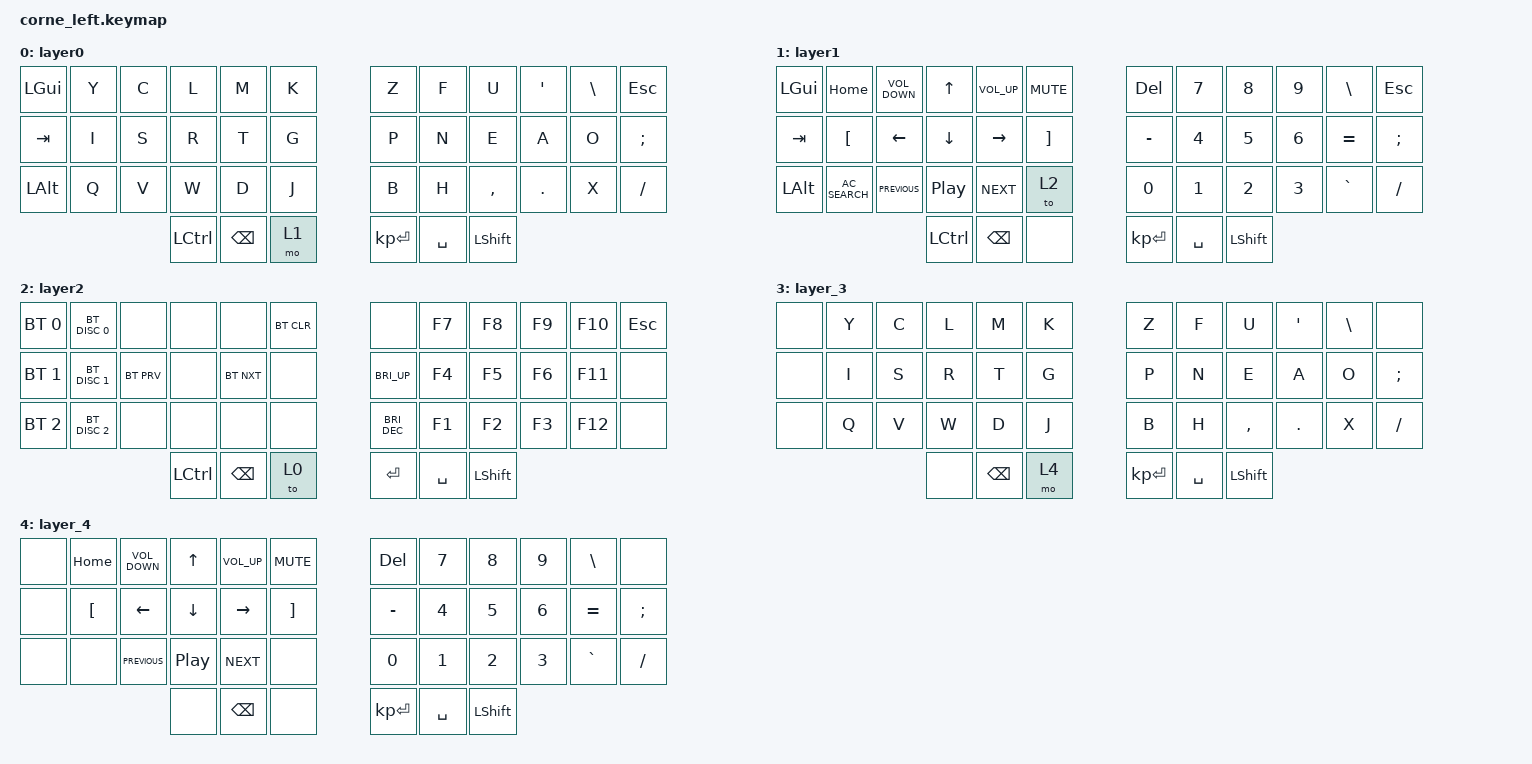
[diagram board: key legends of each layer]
/*
  * Copyright (c) 2020 The ZMK Contributors
  *
  * SPDX-License-Identifier: MIT
  */

#include <behaviors.dtsi>
#include <dt-bindings/zmk/bt.h>
#include <dt-bindings/zmk/keys.h>


&kscan {
    row-gpios
            = <&pro_micro 4 (GPIO_PULL_DOWN | GPIO_ACTIVE_HIGH)>
            , <&pro_micro 5  (GPIO_PULL_DOWN | GPIO_ACTIVE_HIGH)>
            , <&gpio0     1  (GPIO_PULL_DOWN | GPIO_ACTIVE_HIGH)>
            , <&pro_micro 8  (GPIO_PULL_DOWN | GPIO_ACTIVE_HIGH)>

            ;
};


/ {
    combos {
        compatible = "zmk,combos";

        purewrite {
            bindings = <&tog 3>;
            key-positions = <37 36 38>;
            layers = <3 0>;
        };

        normal {
            timeout-ms = <50>;
            key-positions = <0 12 24>;
            bindings = <&to 0>;
        };
    };

    keymap {
        compatible = "zmk,keymap";

        layer0 {
            bindings = <
&kp LEFT_GUI  &kp Y  &kp C  &kp L             &kp M          &kp K    &kp Z         &kp F      &kp U           &kp SINGLE_QUOTE  &kp BACKSLASH  &kp ESCAPE
&kp TAB       &kp I  &kp S  &kp R             &kp T          &kp G    &kp P         &kp N      &kp E           &kp A             &kp O          &kp SEMICOLON
&kp LEFT_ALT  &kp Q  &kp V  &kp W             &kp D          &kp J    &kp B         &kp H      &kp COMMA       &kp DOT           &kp X          &kp SLASH
                            &kp LEFT_CONTROL  &kp BACKSPACE  &mo 1    &kp KP_ENTER  &kp SPACE  &kp LEFT_SHIFT
            >;
        };

        layer1 {
            bindings = <
&kp LEFT_GUI  &kp HOME          &kp C_VOLUME_DOWN  &kp UP            &kp C_VOLUME_UP  &kp C_MUTE           &kp DELETE    &kp N7     &kp N8          &kp N9  &kp BACKSLASH  &kp ESCAPE
&kp TAB       &kp LEFT_BRACKET  &kp LEFT           &kp DOWN          &kp RIGHT        &kp RIGHT_BRACKET    &kp MINUS     &kp N4     &kp N5          &kp N6  &kp EQUAL      &kp SEMICOLON
&kp LEFT_ALT  &kp C_AC_SEARCH   &kp C_PREVIOUS     &kp C_PLAY_PAUSE  &kp C_NEXT       &to 2               &kp NUMBER_0  &kp N1     &kp N2          &kp N3  &kp GRAVE      &kp SLASH
                                                   &kp LEFT_CONTROL  &kp BACKSPACE    &none                &kp KP_ENTER  &kp SPACE  &kp LEFT_SHIFT
            >;
        };

        layer2 {
            bindings = <
&bt BT_SEL 0  &bt BT_DISC 0  &none         &none             &none          &bt BT_CLR    &none          &kp F7     &kp F8          &kp F9  &kp F10  &kp ESCAPE
&bt BT_SEL 1  &bt BT_DISC 1  &bt BT_PRV    &none             &bt BT_NXT     &none         &kp C_BRI_UP   &kp F4     &kp F5          &kp F6  &kp F11  &none
&bt BT_SEL 2  &bt BT_DISC 2  &none  &none     &none          &none        &kp C_BRI_DEC  &kp F1     &kp F2          &kp F3  &kp F12  &none
                                           &kp LEFT_CONTROL  &kp BACKSPACE  &to 0         &kp ENTER      &kp SPACE  &kp LEFT_SHIFT
            >;
        };

        layer_3 {
            bindings = <
&none  &kp Y  &kp C  &kp L  &kp M          &kp K    &kp Z         &kp F      &kp U           &kp SINGLE_QUOTE  &kp BACKSLASH  &none
&none  &kp I  &kp S  &kp R  &kp T          &kp G    &kp P         &kp N      &kp E           &kp A             &kp O          &kp SEMICOLON
&none  &kp Q  &kp V  &kp W  &kp D          &kp J    &kp B         &kp H      &kp COMMA       &kp DOT           &kp X          &kp SLASH
                     &none  &kp BACKSPACE  &mo 4    &kp KP_ENTER  &kp SPACE  &kp LEFT_SHIFT
            >;
        };

        layer_4 {
            bindings = <
&none  &kp HOME          &kp C_VOLUME_DOWN  &kp UP            &kp C_VOLUME_UP  &kp C_MUTE           &kp DELETE    &kp N7     &kp N8          &kp N9  &kp BACKSLASH  &none
&none  &kp LEFT_BRACKET  &kp LEFT           &kp DOWN          &kp RIGHT        &kp RIGHT_BRACKET    &kp MINUS     &kp N4     &kp N5          &kp N6  &kp EQUAL      &kp SEMICOLON
&none  &none             &kp C_PREVIOUS     &kp C_PLAY_PAUSE  &kp C_NEXT       &none                &kp NUMBER_0  &kp N1     &kp N2          &kp N3  &kp GRAVE      &kp SLASH
                                            &none             &kp BACKSPACE    &none                &kp KP_ENTER  &kp SPACE  &kp LEFT_SHIFT
            >;
        };
    };
};
